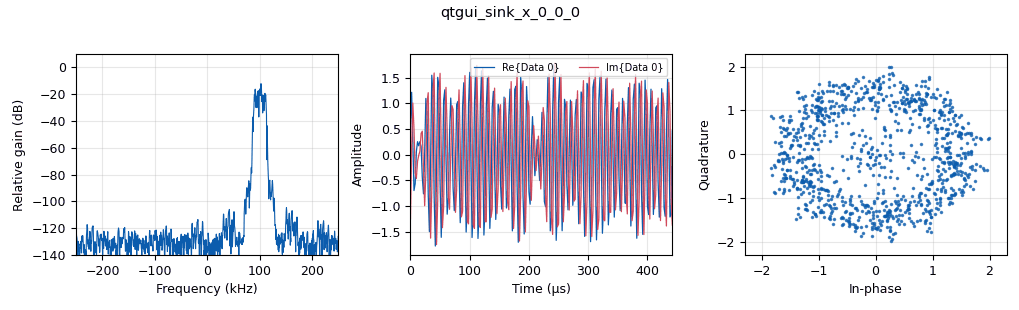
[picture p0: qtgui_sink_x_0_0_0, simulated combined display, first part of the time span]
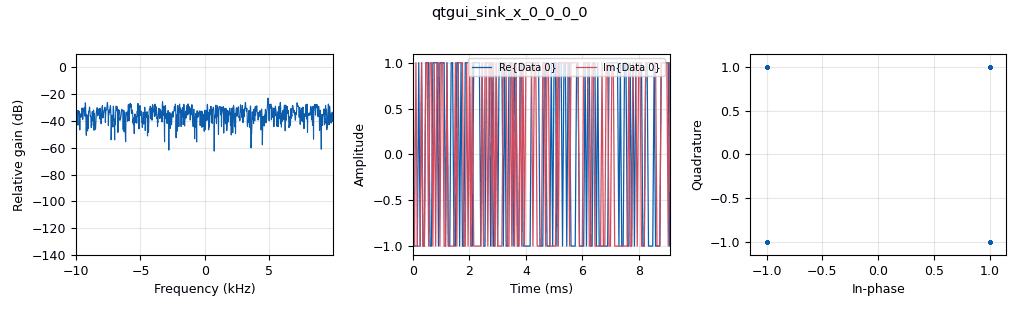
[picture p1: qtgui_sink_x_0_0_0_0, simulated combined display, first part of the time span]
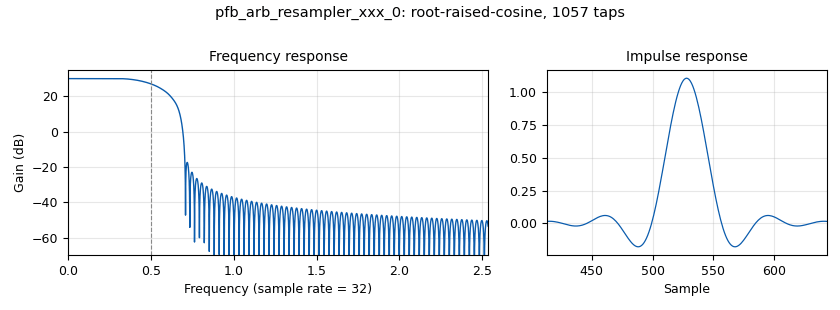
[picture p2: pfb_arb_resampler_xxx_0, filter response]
options:
  parameters:
    generate_options: qt_gui
    id: top_block
    output_language: python
  states: {}

blocks:
- name: const_points
  id: variable
  parameters:
    value: '4'
  states: {}
- name: excess_bw
  id: variable
  parameters:
    value: '0.4'
  states: {}
- name: nfilts
  id: variable
  parameters:
    value: '32'
  states: {}
- name: ntaps
  id: variable
  parameters:
    value: 11*nfilts*sps
  states: {}
- name: samp_rate
  id: variable
  parameters:
    value: '20000'
  states: {}
- name: sps
  id: variable
  parameters:
    value: '3'
  states: {}
- name: tx_taps
  id: variable
  parameters:
    value: firdes.root_raised_cosine(nfilts, nfilts, 1.0, excess_bw, ntaps)
  states: {}
- name: analog_random_source_x_0
  id: analog_random_source_x
  parameters:
    max: const_points
    min: '0'
    num_samps: '1000'
    repeat: 'True'
    type: byte
  states: {}
- name: analog_sig_source_x_0
  id: analog_sig_source_x
  parameters:
    amp: '1'
    freq: '100000'
    offset: '0'
    phase: '0'
    samp_rate: '500000'
    type: complex
    waveform: analog.GR_COS_WAVE
  states: {}
- name: blocks_complex_to_real_0
  id: blocks_complex_to_real
  parameters: {}
  states: {}
- name: blocks_file_sink_0
  id: blocks_file_sink
  parameters:
    file: D:\OneDrive - Indian Institute of Technology Bombay\Desktop\SEM6\EE 340 (L)\lab5\Q1.bin
    type: float
  states: {}
- name: blocks_multiply_xx_0
  id: blocks_multiply_xx
  parameters:
    type: complex
  states: {}
- name: blocks_throttle_0
  id: blocks_throttle
  parameters:
    samples_per_second: samp_rate
    type: complex
  states: {}
- name: digital_chunks_to_symbols_xx_0
  id: digital_chunks_to_symbols_xx
  parameters:
    dimension: '1'
    in_type: byte
    out_type: complex
    symbol_table: ((1-1j),(1+1j),(-1+1j),(-1-1j))
  states: {}
- name: import_0
  id: import
  parameters:
    imports: from gnuradio import digital
  states: {}
- name: import_1
  id: import
  parameters:
    imports: from gnuradio import filter
  states: {}
- name: pfb_arb_resampler_xxx_0
  id: pfb_arb_resampler_xxx
  parameters:
    atten: '100'
    nfilts: '32'
    rrate: sps
    taps: tx_taps
    type: ccf
  states: {}
- name: pi
  id: import
  parameters:
    imports: from math import pi
  states: {}
- name: qtgui_sink_x_0_0_0
  id: qtgui_sink_x
  parameters:
    bw: '500000'
    fc: '0'
    fftsize: '1024'
    type: complex
    wintype: firdes.WIN_BLACKMAN_hARRIS
  states: {}
- name: qtgui_sink_x_0_0_0_0
  id: qtgui_sink_x
  parameters:
    bw: '20000'
    fc: '0'
    fftsize: '1024'
    type: complex
    wintype: firdes.WIN_BLACKMAN_hARRIS
  states: {}
- name: rational_resampler_xxx_0
  id: rational_resampler_xxx
  parameters:
    decim: '3'
    interp: '25'
    taps: ''
    type: ccc
  states: {}

connections:
- [analog_random_source_x_0, '0', digital_chunks_to_symbols_xx_0, '0']
- [analog_sig_source_x_0, '0', blocks_multiply_xx_0, '1']
- [blocks_complex_to_real_0, '0', blocks_file_sink_0, '0']
- [blocks_multiply_xx_0, '0', blocks_complex_to_real_0, '0']
- [blocks_multiply_xx_0, '0', qtgui_sink_x_0_0_0, '0']
- [blocks_throttle_0, '0', pfb_arb_resampler_xxx_0, '0']
- [blocks_throttle_0, '0', qtgui_sink_x_0_0_0_0, '0']
- [digital_chunks_to_symbols_xx_0, '0', blocks_throttle_0, '0']
- [pfb_arb_resampler_xxx_0, '0', rational_resampler_xxx_0, '0']
- [rational_resampler_xxx_0, '0', blocks_multiply_xx_0, '0']

metadata:
  file_format: 1
